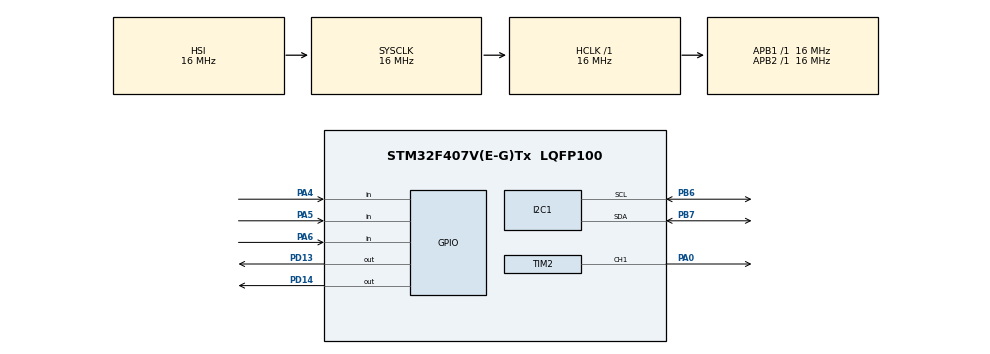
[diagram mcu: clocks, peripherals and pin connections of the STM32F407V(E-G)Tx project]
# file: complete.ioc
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Mcu.Family=STM32F4
Mcu.Name=STM32F407V(E-G)Tx
Mcu.Package=LQFP100
NVIC.I2C1_EV_IRQn=true\:0\:0\:false\:false\:true\:true\:true\:true
NVIC.PVD_IRQn=true\:0\:0\:false\:false\:true\:true\:true\:true
NVIC.PriorityGroup=NVIC_PRIORITYGROUP_4
NVIC.TIM1_UP_TIM10_IRQn=true\:15\:0\:false\:false\:true\:false\:true\:true
NVIC.TIM2_IRQn=true\:0\:0\:false\:false\:true\:true\:true\:true
NVIC.TIM3_IRQn=true\:0\:0\:false\:false\:true\:true\:true\:true
NVIC.TimeBase=TIM1_UP_TIM10_IRQn
NVIC.TimeBaseIP=TIM1
PA0-WKUP.Signal=S_TIM2_CH1_ETR
PA13.Mode=Serial_Wire
PA13.Signal=SYS_JTMS-SWDIO
PA14.Mode=Serial_Wire
PA14.Signal=SYS_JTCK-SWCLK
PA4.GPIO_PuPd=GPIO_PULLDOWN
PA4.Signal=GPIO_Input
PA5.GPIO_PuPd=GPIO_PULLDOWN
PA5.Signal=GPIO_Input
PA6.GPIO_PuPd=GPIO_PULLDOWN
PA6.Signal=GPIO_Input
PB6.Mode=I2C
PB6.Signal=I2C1_SCL
PB7.Mode=I2C
PB7.Signal=I2C1_SDA
PD13.Signal=GPIO_Output
PD14.Signal=GPIO_Output
ProjectManager.HeapSize=0x200
ProjectManager.StackSize=0x400
ProjectManager.TargetToolchain=STM32CubeIDE
RCC.AHBFreq_Value=16000000
RCC.APB1Freq_Value=16000000
RCC.APB2Freq_Value=16000000
RCC.CortexFreq_Value=16000000
RCC.HSE_VALUE=25000000
RCC.HSI_VALUE=16000000
RCC.LSE_VALUE=32768
RCC.SYSCLKFreq_VALUE=16000000
RCC.VCOOutputFreq_Value=192000000
SH.S_TIM2_CH1_ETR.0=TIM2_CH1,PWM Generation1 CH1
TIM2.Channel-PWM\ Generation1\ CH1=TIM_CHANNEL_1
VP_SYS_VS_tim1.Mode=TIM1
VP_TIM3_VS_ClockSourceINT.Mode=Internal
board=custom

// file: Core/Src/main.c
/* USER CODE BEGIN Header */
/**
  ******************************************************************************
  * @file           : main.c
  * @brief          : Main program body
  ******************************************************************************
  * @attention
  *
  * Copyright (c) 2025 STMicroelectronics.
  * All rights reserved.
  *
  * This software is licensed under terms that can be found in the LICENSE file
  * in the root directory of this software component.
  * If no LICENSE file comes with this software, it is provided AS-IS.
  *
  ******************************************************************************
  */
/* USER CODE END Header */
#include "main.h"

/* USER CODE BEGIN Includes */
#include <stdio.h>
#include "i2c-lcd.h"
#include <stdbool.h>

/* USER CODE END Includes */

/* USER CODE BEGIN PD */
/* USER CODE BEGIN PD */
#define SERVO_MIN_PULSE   100
#define SERVO_MAX_PULSE   200
#define SERVO_90_PULSE    ((SERVO_MIN_PULSE + SERVO_MAX_PULSE) / 2)
#define SERVO_LEFT_PULSE  SERVO_MIN_PULSE
#define SERVO_RIGHT_PULSE SERVO_MAX_PULSE

/* USER CODE END PD */

/* USER CODE END PD */

I2C_HandleTypeDef hi2c1;

TIM_HandleTypeDef htim2;
TIM_HandleTypeDef htim3;

/* USER CODE BEGIN PV */
static uint32_t remaining_secs = 0;
static bool     timer_running  = false;
static uint16_t count = 0;
static char buf[17];

volatile uint8_t hours = 00, minutes = 0, seconds = 0;

/* USER CODE END PV */

void SystemClock_Config(void);
static void MX_GPIO_Init(void);
static void MX_I2C1_Init(void);
static void MX_TIM2_Init(void);
static void MX_TIM3_Init(void);

int main(void)
{

  /* MCU Configuration--------------------------------------------------------*/

  /* Reset of all peripherals, Initializes the Flash interface and the Systick. */
  HAL_Init();

  /* Configure the system clock */
  SystemClock_Config();

  /* Initialize all configured peripherals */
  MX_GPIO_Init();
  MX_I2C1_Init();
  MX_TIM2_Init();
  MX_TIM3_Init();
  /* USER CODE BEGIN 2 */
  HAL_TIM_PWM_Start(&htim2, TIM_CHANNEL_1);
  __HAL_TIM_SET_COMPARE(&htim2, TIM_CHANNEL_1, SERVO_MIN_PULSE);
  lcd_init();
SETUP:
  lcd_put_cur(0, 0);
  lcd_send_string("Hey rudra, study!");
  lcd_put_cur(1, 0);
  lcd_send_string("Let's set timer now,ok? ");
    while (HAL_GPIO_ReadPin(GPIOA, GPIO_PIN_5) != GPIO_PIN_RESET) { }
   HAL_Delay(50);
   while (HAL_GPIO_ReadPin(GPIOA, GPIO_PIN_5) != GPIO_PIN_SET) { }
    HAL_Delay(50);
  lcd_clear();
  lcd_put_cur(0, 0);
  lcd_send_string("minutes");
  sprintf(buf, "%6u ",count);
  lcd_put_cur(1, 0);
  lcd_send_string(buf);
  /* USER CODE END 2 */

  /* Infinite loop */
  while (1)
  {

    /* USER CODE BEGIN 3 */
	  if (HAL_GPIO_ReadPin(GPIOA, GPIO_PIN_4) == GPIO_PIN_SET)
	    {
	        HAL_Delay(50);
	        if (HAL_GPIO_ReadPin(GPIOA, GPIO_PIN_4) == GPIO_PIN_SET)
	        {
	            HAL_GPIO_TogglePin(GPIOD, GPIO_PIN_14);
	            HAL_Delay(200);
	            HAL_GPIO_TogglePin(GPIOD, GPIO_PIN_14);

	            count++;
	            sprintf(buf, "%6u", count);
	            lcd_put_cur(1, 0);
	            lcd_send_string(buf);

	            while (HAL_GPIO_ReadPin(GPIOA, GPIO_PIN_4) == GPIO_PIN_SET) { }
	            HAL_Delay(50);
	        }
	    }

	    if (HAL_GPIO_ReadPin(GPIOA, GPIO_PIN_6) == GPIO_PIN_RESET)
	    {
	        HAL_Delay(50);
	        if (HAL_GPIO_ReadPin(GPIOA, GPIO_PIN_6) == GPIO_PIN_RESET)
	        {
	            HAL_GPIO_TogglePin(GPIOD, GPIO_PIN_13);
	            HAL_Delay(200);
	            HAL_GPIO_TogglePin(GPIOD, GPIO_PIN_13);

	            if (count > 0) count--;
	            sprintf(buf, "%6u", count);
	            lcd_put_cur(1, 0);
	            lcd_send_string(buf);

	            while (HAL_GPIO_ReadPin(GPIOA, GPIO_PIN_6) == GPIO_PIN_RESET) { }
	            HAL_Delay(50);
	        }
	    }

	  if (HAL_GPIO_ReadPin(GPIOA, GPIO_PIN_5) == GPIO_PIN_SET)
	  {
	      HAL_Delay(50);
	      if (HAL_GPIO_ReadPin(GPIOA, GPIO_PIN_5) == GPIO_PIN_SET)
	      {
	          HAL_GPIO_TogglePin(GPIOD, GPIO_PIN_13);
	          HAL_GPIO_TogglePin(GPIOD, GPIO_PIN_14);
	          HAL_Delay(200);
	          HAL_GPIO_TogglePin(GPIOD, GPIO_PIN_13);
	          HAL_GPIO_TogglePin(GPIOD, GPIO_PIN_14);

	          lcd_put_cur(0, 0);
	          lcd_send_string("okay great !");
	          lcd_put_cur(1, 0);
	          lcd_send_string("starting timer");

	          while (HAL_GPIO_ReadPin(GPIOA, GPIO_PIN_5) == GPIO_PIN_SET) { }
	          HAL_Delay(50);

	          	lcd_clear();
	            lcd_put_cur(0,0);
	            lcd_send_string(" Time left:   ");

	            uint8_t m0 = count;
	            uint8_t s0 = 0;
	            char t0[8];
	            sprintf(t0, "%02u:%02u", m0, s0);
	            lcd_put_cur(1,0);
	            lcd_send_string(t0);

	          remaining_secs = count * 60;
	          timer_running  = true;

	          __HAL_TIM_CLEAR_FLAG(&htim3, TIM_FLAG_UPDATE);
	          __HAL_TIM_SET_COUNTER(&htim3, 0);

	          HAL_TIM_Base_Start(&htim3);
	          timer_running = true;
	         __HAL_TIM_SET_COMPARE(&htim2, TIM_CHANNEL_1, SERVO_RIGHT_PULSE);

	      }
	  }

	    if (timer_running) {
	        if (remaining_secs > 0) {
	            if (__HAL_TIM_GET_FLAG(&htim3, TIM_FLAG_UPDATE)) {
	                __HAL_TIM_CLEAR_FLAG(&htim3, TIM_FLAG_UPDATE);

	                remaining_secs--;
	                HAL_GPIO_TogglePin(GPIOD, GPIO_PIN_14);

	                uint8_t m = remaining_secs / 60;
	                uint8_t s = remaining_secs % 60;
	                char tbuf[8];
	                sprintf(tbuf, "%02u:%02u", m, s);
	                lcd_put_cur(1,0);
	                lcd_send_string(tbuf);
	            }
	        }
	        else {
	            timer_running = false;
	            HAL_TIM_Base_Stop(&htim3);

	            lcd_clear();
	            lcd_put_cur(0,0);
	            lcd_send_string("  Time's Up!   ");
	            lcd_put_cur(1,0);
	            lcd_send_string(" Start again?   ");

	            __HAL_TIM_SET_COMPARE(&htim2, TIM_CHANNEL_1, SERVO_LEFT_PULSE);
	            while (HAL_GPIO_ReadPin(GPIOA, GPIO_PIN_5) != GPIO_PIN_RESET) { }
	           HAL_Delay(50);

	           while (HAL_GPIO_ReadPin(GPIOA, GPIO_PIN_5) != GPIO_PIN_SET) { }
	            HAL_Delay(50);
	            lcd_clear();
	            goto SETUP;

	        }
	    }
  }
  /* USER CODE END 3 */
}

void SystemClock_Config(void)
{
  RCC_OscInitTypeDef RCC_OscInitStruct = {0};
  RCC_ClkInitTypeDef RCC_ClkInitStruct = {0};

  /** Configure the main internal regulator output voltage
  */
  __HAL_RCC_PWR_CLK_ENABLE();
  __HAL_PWR_VOLTAGESCALING_CONFIG(PWR_REGULATOR_VOLTAGE_SCALE1);

  /** Initializes the RCC Oscillators according to the specified parameters
  * in the RCC_OscInitTypeDef structure.
  */
  RCC_OscInitStruct.OscillatorType = RCC_OSCILLATORTYPE_HSI;
  RCC_OscInitStruct.HSIState = RCC_HSI_ON;
  RCC_OscInitStruct.HSICalibrationValue = RCC_HSICALIBRATION_DEFAULT;
  RCC_OscInitStruct.PLL.PLLState = RCC_PLL_NONE;
  if (HAL_RCC_OscConfig(&RCC_OscInitStruct) != HAL_OK)
  {
    Error_Handler();
  }

  /** Initializes the CPU, AHB and APB buses clocks
  */
  RCC_ClkInitStruct.ClockType = RCC_CLOCKTYPE_HCLK|RCC_CLOCKTYPE_SYSCLK
                              |RCC_CLOCKTYPE_PCLK1|RCC_CLOCKTYPE_PCLK2;
  RCC_ClkInitStruct.SYSCLKSource = RCC_SYSCLKSOURCE_HSI;
  RCC_ClkInitStruct.AHBCLKDivider = RCC_SYSCLK_DIV1;
  RCC_ClkInitStruct.APB1CLKDivider = RCC_HCLK_DIV1;
  RCC_ClkInitStruct.APB2CLKDivider = RCC_HCLK_DIV1;

  if (HAL_RCC_ClockConfig(&RCC_ClkInitStruct, FLASH_LATENCY_0) != HAL_OK)
  {
    Error_Handler();
  }
}

static void MX_I2C1_Init(void)
{

  hi2c1.Instance = I2C1;
  hi2c1.Init.ClockSpeed = 100000;
  hi2c1.Init.DutyCycle = I2C_DUTYCYCLE_2;
  hi2c1.Init.OwnAddress1 = 0;
  hi2c1.Init.AddressingMode = I2C_ADDRESSINGMODE_7BIT;
  hi2c1.Init.DualAddressMode = I2C_DUALADDRESS_DISABLE;
  hi2c1.Init.OwnAddress2 = 0;
  hi2c1.Init.GeneralCallMode = I2C_GENERALCALL_DISABLE;
  hi2c1.Init.NoStretchMode = I2C_NOSTRETCH_DISABLE;
  if (HAL_I2C_Init(&hi2c1) != HAL_OK)
  {
    Error_Handler();
  }

}

static void MX_TIM2_Init(void)
{

  TIM_MasterConfigTypeDef sMasterConfig = {0};
  TIM_OC_InitTypeDef sConfigOC = {0};

  htim2.Instance = TIM2;
  htim2.Init.Prescaler = 159;
  htim2.Init.CounterMode = TIM_COUNTERMODE_UP;
  htim2.Init.Period =1999;
  htim2.Init.ClockDivision = TIM_CLOCKDIVISION_DIV1;
  htim2.Init.AutoReloadPreload = TIM_AUTORELOAD_PRELOAD_DISABLE;
  if (HAL_TIM_PWM_Init(&htim2) != HAL_OK)
  {
    Error_Handler();
  }
  sMasterConfig.MasterOutputTrigger = TIM_TRGO_RESET;
  sMasterConfig.MasterSlaveMode = TIM_MASTERSLAVEMODE_DISABLE;
  if (HAL_TIMEx_MasterConfigSynchronization(&htim2, &sMasterConfig) != HAL_OK)
  {
    Error_Handler();
  }
  sConfigOC.OCMode = TIM_OCMODE_PWM1;
  sConfigOC.Pulse = 150;
  sConfigOC.OCPolarity = TIM_OCPOLARITY_HIGH;
  sConfigOC.OCFastMode = TIM_OCFAST_DISABLE;
  if (HAL_TIM_PWM_ConfigChannel(&htim2, &sConfigOC, TIM_CHANNEL_1) != HAL_OK)
  {
    Error_Handler();
  }
  HAL_TIM_MspPostInit(&htim2);

}

static void MX_TIM3_Init(void)
{

  TIM_ClockConfigTypeDef sClockSourceConfig = {0};
  TIM_MasterConfigTypeDef sMasterConfig = {0};

  htim3.Instance = TIM3;
  htim3.Init.Prescaler =16000-1 ;
  htim3.Init.CounterMode = TIM_COUNTERMODE_UP;
  htim3.Init.Period = 1000-1;
  htim3.Init.ClockDivision = TIM_CLOCKDIVISION_DIV1;
  htim3.Init.AutoReloadPreload = TIM_AUTORELOAD_PRELOAD_DISABLE;
  if (HAL_TIM_Base_Init(&htim3) != HAL_OK)
  {
    Error_Handler();
  }
  sClockSourceConfig.ClockSource = TIM_CLOCKSOURCE_INTERNAL;
  if (HAL_TIM_ConfigClockSource(&htim3, &sClockSourceConfig) != HAL_OK)
  {
    Error_Handler();
  }
  sMasterConfig.MasterOutputTrigger = TIM_TRGO_RESET;
  sMasterConfig.MasterSlaveMode = TIM_MASTERSLAVEMODE_DISABLE;
  if (HAL_TIMEx_MasterConfigSynchronization(&htim3, &sMasterConfig) != HAL_OK)
  {
    Error_Handler();
  }

}

static void MX_GPIO_Init(void)
{
  GPIO_InitTypeDef GPIO_InitStruct = {0};

  /* GPIO Ports Clock Enable */
  __HAL_RCC_GPIOA_CLK_ENABLE();
  __HAL_RCC_GPIOD_CLK_ENABLE();
  __HAL_RCC_GPIOB_CLK_ENABLE();

  /*Configure GPIO pin Output Level */
  HAL_GPIO_WritePin(GPIOD, GPIO_PIN_13|GPIO_PIN_14, GPIO_PIN_RESET);

  /*Configure GPIO pins : PA4 PA5 PA6 */
  GPIO_InitStruct.Pin = GPIO_PIN_4|GPIO_PIN_5|GPIO_PIN_6;
  GPIO_InitStruct.Mode = GPIO_MODE_INPUT;
  GPIO_InitStruct.Pull = GPIO_PULLDOWN;
  HAL_GPIO_Init(GPIOA, &GPIO_InitStruct);

  /*Configure GPIO pins : PD13 PD14 */
  GPIO_InitStruct.Pin = GPIO_PIN_13|GPIO_PIN_14;
  GPIO_InitStruct.Mode = GPIO_MODE_OUTPUT_PP;
  GPIO_InitStruct.Pull = GPIO_NOPULL;
  GPIO_InitStruct.Speed = GPIO_SPEED_FREQ_LOW;
  HAL_GPIO_Init(GPIOD, &GPIO_InitStruct);

}

/* USER CODE BEGIN 4 */

////////////////////////////////////////////////////////

/* USER CODE END 4 */

void HAL_TIM_PeriodElapsedCallback(TIM_HandleTypeDef *htim)
{
  if (htim->Instance == TIM1)
  {
    HAL_IncTick();
  }
}

void Error_Handler(void)
{
  __disable_irq();
  while (1)
  {
  }
}
